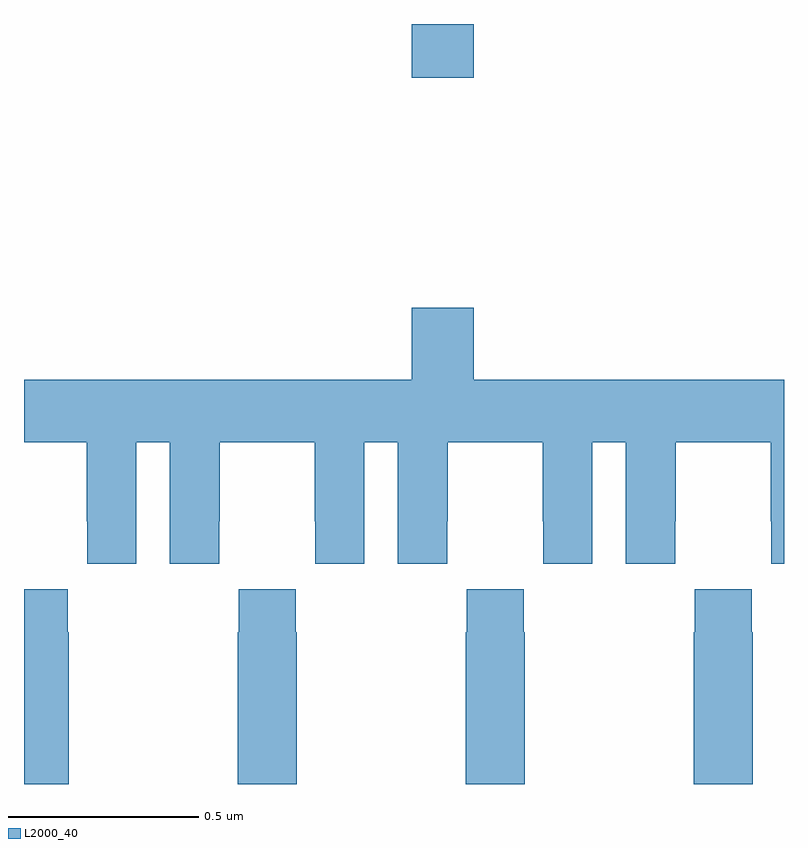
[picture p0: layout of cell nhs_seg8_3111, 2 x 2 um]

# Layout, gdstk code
import gdstk
lib = gdstk.Library(unit=1e-6, precision=1e-09)
def R(c, l, rs):  # rectangles x0, y0, x1, y1
    for r in rs: c.add(gdstk.rectangle(r[:2], r[2:], *l))
def P(c, l, *ps):  # polygons
    for p in ps: c.add(gdstk.Polygon(p, *l))
L2000_40 = (2000, 40)

nhs_seg8_3111 = lib.new_cell('nhs_seg8_3111')
R(nhs_seg8_3111, L2000_40, [(153.02,1150.758,153.184,1150.9)])
P(nhs_seg8_3111, L2000_40, [(152.296,1149.8),(152.384,1149.8),(152.384,1149.48),(152.514,1149.48),(152.514,1149.592),(152.515,1149.592),(152.515,1149.8),(152.765,1149.8),(152.765,1149.592),(152.766,1149.592),(152.766,1149.48),(152.896,1149.48),(152.896,1149.8),(152.984,1149.8),(152.984,1149.48),(153.114,1149.48),(153.114,1149.592),(153.115,1149.592),(153.115,1149.8),(153.365,1149.8),(153.365,1149.592),(153.366,1149.592),(153.366,1149.48),(153.496,1149.48),(153.496,1149.8),(153.584,1149.8),(153.584,1149.48),(153.714,1149.48),(153.714,1149.592),(153.715,1149.592),(153.715,1149.8),(153.965,1149.8),(153.965,1149.592),(153.966,1149.592),(153.966,1149.48),(154,1149.48),(154,1149.964),(153.184,1149.964),(153.184,1150.153),(153.02,1150.153),(153.02,1149.964),(152,1149.964),(152,1149.8),(152.165,1149.8),(152.165,1149.592),(152.166,1149.592),(152.166,1149.48),(152.296,1149.48)],
  [(152.718,1149.299),(152.715,1149.299),(152.715,1149.412),(152.565,1149.412),(152.565,1149.299),(152.563,1149.299),(152.563,1148.9),(152.718,1148.9)],
  [(153.318,1149.299),(153.315,1149.299),(153.315,1149.412),(153.165,1149.412),(153.165,1149.299),(153.163,1149.299),(153.163,1148.9),(153.318,1148.9)],
  [(153.918,1149.299),(153.915,1149.299),(153.915,1149.412),(153.765,1149.412),(153.765,1149.299),(153.763,1149.299),(153.763,1148.9),(153.918,1148.9)],
  [(152.118,1149.299),(152.115,1149.299),(152.115,1149.412),(152,1149.412),(152,1148.9),(152.118,1148.9)])

lib.write_gds('nhs_seg8_3111.gds')
